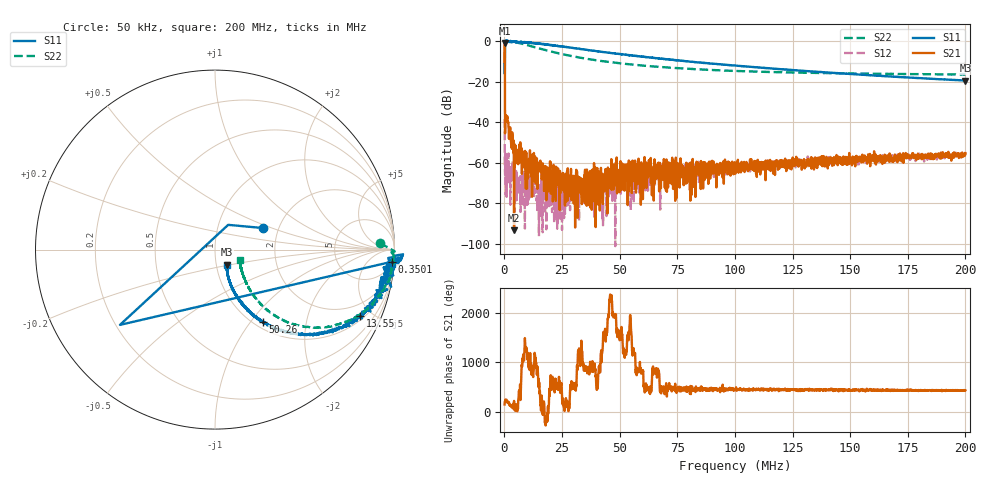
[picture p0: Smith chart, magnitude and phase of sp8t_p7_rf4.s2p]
! 26-Feb-26 1:02:18 PM
! E:\VNA_MEASUREMENTS\SP8T\SP8T_P7_RF4.S2P
! CHANNEL.1
! TR.MEASUREMENT
! CORRECTED.DATA
# GHZ S RI R 50.0
! FREQ.GHZ  S11RE  S11IM  S21RE  S21IM  S12RE  S12IM  S22RE  S22IM
!; PortSelection: Port_12
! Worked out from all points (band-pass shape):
!   2000 points, 50 kHz to 200 MHz, reference 50 ohm
!   highest |S21| = -0.89 dB at 150 kHz (marker M1); lowest = -93.3 dB at 4.151 MHz (marker M2)
!   |S21| within 3 dB of the highest: 117.2 kHz to 156.8 kHz (39.56 kHz wide, 28.9 % of centre)
!   lowest |S11| = -19.4 dB at 200 MHz (marker M3), VSWR 1.24, Z = 56.2 - j9.52 ohm
!   |S11| at or under -10 dB: start of sweep to 198.2 kHz; 80.13 MHz to end of sweep
!   |S22| runs from -16.5 to 0.0 dB; largest |S21 - S12| = 0.9
!   S11 on the Smith chart (normalised r, x): 50 kHz: 1.66, +0.44; 350.1 kHz: 6, -28; 13.55 MHz: 1.20, -4.26; 50.26 MHz: 1.09, -1.15; 200 MHz: 1.12, -0.19
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5e-05  0.2681 0.1201  -0.2895 0.1241  0.00499 -0.011  0.9186 0.0372
0.000150025  0.0735 0.1379  -0.7936 -0.4293  0.000602 -0.000526  1.002 -0.00991
0.000350075  0.9839 -0.068  -0.00588 -0.00999  0.000496 5.87e-05  0.9925 -0.031
0.0012503  1.044 -0.0347  -0.0135 -0.0033  -0.000601 -0.000832  0.9901 -0.0889
0.004151026  0.9905 -0.1325  -1.47e-05 -1.6e-05  0.000277 -0.000838  0.9211 -0.2567
0.006151526  0.9175 -0.2232  0.00163 -0.00145  4.32e-05 -0.000464  0.8473 -0.3327
0.008452101  0.9086 -0.235  0.000559 -0.000535  -0.000109 -0.000492  0.7462 -0.3942
0.009452351  0.8945 -0.273  -0.00145 0.00105  -0.000129 0.000302  0.7043 -0.4113
0.01355338  0.8089 -0.3705  0.000302 6.09e-05  7.6e-05 -0.000198  0.5565 -0.4349
0.01495373  0.7721 -0.395  -0.000617 0.000595  -1.53e-05 -1e-07  0.5123 -0.4305
0.0176544  0.7329 -0.4291  -0.000583 -0.000378  4e-05 4.73e-05  0.4409 -0.4178
0.02495623  0.5831 -0.4654  0.000196 -0.000141  -8.4e-06 2.03e-05  0.3225 -0.3608
0.03345835  0.4373 -0.4675  -0.000358 -2.6e-05  -0.000121 4.57e-05  0.2498 -0.2978
0.05026256  0.2665 -0.4039  0.000441 0.000102  -0.0002 0.000183  0.1881 -0.2136
0.06676668  0.1807 -0.3331  4.28e-05 0.000543  -0.000197 0.000673  0.1658 -0.1658
0.07716929  0.1474 -0.2938  -3.91e-05 0.000678  -0.000188 0.000472  0.1575 -0.1442
0.08127031  0.1362 -0.2802  0.000304 0.000685  -0.000405 0.000467  0.1557 -0.1377
0.08397098  0.1271 -0.2713  -9.34e-05 0.000629  -0.000124 0.00063  0.1532 -0.1333
0.100075  0.1026 -0.23  0.0001 0.000797  -1.08e-05 0.000864  0.1478 -0.1131
0.1333833  0.0765 -0.1627  -0.000151 0.00103  -7.92e-05 0.000929  0.1422 -0.0862
0.1666917  0.0673 -0.118  0.000393 0.00142  0.000255 0.00128  0.1401 -0.0699
0.2  0.0662 -0.0837  0.000329 0.00171  0.000367 0.0014  0.1387 -0.0578
